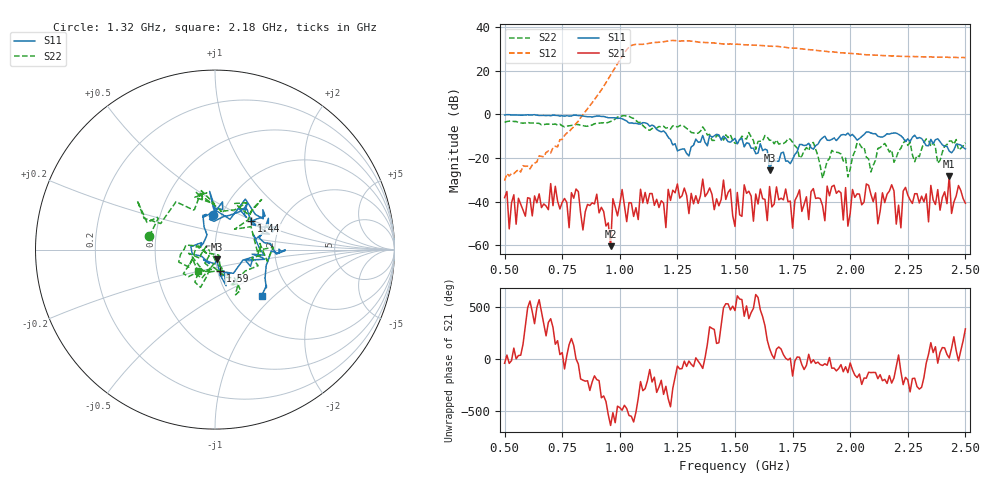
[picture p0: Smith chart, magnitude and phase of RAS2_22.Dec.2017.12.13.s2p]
!Keysight Technologies N9923A: A.08.18
!Date: Friday, 22 December 2017 12:13:11
!Timezone: (GMT-05:00) Eastern Time (US & Canada)
!Model: N9923A
!Serial: MY52412517
!GPS Latitude:
!GPS Longitude:
!GPS TimeStamp: 0001-01-01 00:00:00Z
!GPS Seconds Since Last Read: 0
!CHECKSUM:1959744249
!Correction: S11(ON Q?)S21(ON Q?)S12(ON Q?)S22(ON Q?)
!S2P File: Measurements:S11,S21,S12,S22:
# Hz S DB R 50
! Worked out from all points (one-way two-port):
!   201 points, 500 MHz to 2.5 GHz, reference 50 ohm
!   highest |S21| = -28.33 dB at 2.43 GHz (marker M1); lowest = -60.5 dB at 960 MHz (marker M2)
!   lowest |S11| = -25.6 dB at 1.65 GHz (marker M3), VSWR 1.11, Z = 50.7 - j5.23 ohm
!   |S11| at or under -10 dB: 1.207 GHz to 1.359 GHz (152.2 MHz wide, 11.9 % of centre); 1.432 GHz to 1.956 GHz (524.2 MHz wide, 30.9 % of centre); 2.283 GHz to end of sweep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
!   |S22| runs from -29.4 to -0.7 dB; largest |S21 - S12| = 49
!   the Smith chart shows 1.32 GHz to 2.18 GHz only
!   S11 on the Smith chart (normalised r, x): 1.32 GHz: 0.91, +0.37; 1.44 GHz: 1.41, +0.48; 1.59 GHz: 1.03, -0.25; 2.18 GHz: 1.41, -0.84
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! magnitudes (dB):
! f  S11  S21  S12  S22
! 500 MHz  -0.4  -38.2  -30.5  -3.7
! 780 MHz  -0.9  -52.0  -8.1  -5.3
! 810 MHz  -0.5  -34.3  -4.3  -4.7
! 840 MHz  -0.8  -53.0  -0.2  -5.2
! 900 MHz  -0.9  -36.6  8.1  -4.2
! 960 MHz  -1.6  -60.5  18.0  -3.4
! 970 MHz  -1.6  -38.7  19.7  -2.7
! 1.01 GHz  -2.0  -34.5  26.5  -0.7
! 1.17 GHz  -7.6  -42.8  33.0  -5.6
! 1.32 GHz  -14.2  -41.0  33.4  -8.6
! 1.44 GHz  -11.8  -39.1  32.3  -10.1
! 1.5 GHz  -11.1  -51.4  32.1  -13.3
! 1.59 GHz  -18.1  -36.5  31.6  -16.1
! 1.65 GHz  -25.6  -33.1  31.2  -12.0
! 1.75 GHz  -20.7  -52.2  30.3  -12.9
! 1.84 GHz  -16.1  -34.1  29.4  -12.9
! 1.99 GHz  -8.6  -51.3  27.9  -28.7
! 2.17 GHz  -9.1  -35.3  26.8  -17.3
! 2.18 GHz  -8.7  -32.3  26.7  -16.4
! 2.22 GHz  -9.9  -52.1  26.5  -15.6
! 2.43 GHz  -16.9  -28.3  26.0  -12.3
! 2.5 GHz  -15.9  -40.8  25.9  -13.1
